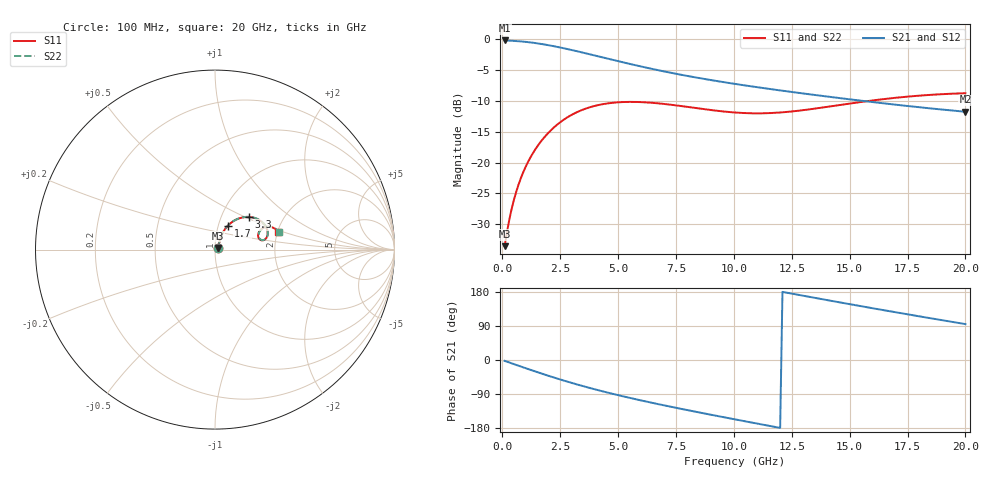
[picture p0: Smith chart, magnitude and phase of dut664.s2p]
! Touchstone file exported from HFSS 2024.1.0
!  File:  C:/UserFiles/LocalFiles/RDL_TSV_Batchsim/temp_RDL_TSV_664_1779812749.aedt
!  Generated:  12:40:36 AM May 27, 2026
!  Design:  RDL_TSV
!  Project:  temp_RDL_TSV_664_1779812749
!  Setup:  Setup1
!  Solution:  Sweep
! Variables:
!  dtsv = 6.43um
!  hbump = 3um
!  htsv = 70.53um
!  ldown = 583.68um
!  lrdl = 591.24um
!  p = 40
!  p1 = 55.98um
!  rhole = 10um
!  subl = 4116um
!  t = 450um
!  tdown = 4.49um
!  trdl = 4.69um
!  viad = 10um
!  wdown = 13.41um
!  wrdl = 26.51um
!  xbump = 18um
# GHz S MA R 50.000000
! Terminal data exported
! Port[1] = TM1_1_T1
! Port[2] = TM1_4_T1
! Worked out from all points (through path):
!   200 points, 100 MHz to 20 GHz, reference 50 ohm
!   highest |S21| = -0.16 dB at 100 MHz (marker M1); lowest = -11.7 dB at 20 GHz (marker M2)
!   group delay of S21, straight-line fit = 34.9 ps
!   lowest |S11| = -33.6 dB at 100 MHz (marker M3), VSWR 1.04, Z = 51.9 + j0.988 ohm
!   |S11| at or under -10 dB: start of sweep to 15.8 GHz
!   |S22| runs from -33.6 to -8.7 dB; largest |S21 - S12| = 9.3e-15
!   S11 on the Smith chart (normalised r, x): 100 MHz: 1.04, +0.02; 1.7 GHz: 1.11, +0.30; 3.3 GHz: 1.34, +0.52; 20 GHz: 2.02, +0.46
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0.1  0.02094 27.0  0.9813 -2.2  0.9813 -2.2  0.02094 27.0
! Gamma 0 0 0 0
! Port Impedance 50 0 50 0
0.3  0.03415 51.3  0.978 -6.6  0.978 -6.6  0.03415 51.3
0.4  0.04173 56.8  0.9758 -8.7  0.9758 -8.7  0.04172 56.8
0.7  0.0661 64.0  0.9676 -15.1  0.9676 -15.1  0.06609 64.1
1.1  0.1001 65.4  0.9517 -23.6  0.9517 -23.6  0.1001 65.4
1.7  0.151 61.8  0.9181 -35.9  0.9181 -35.9  0.1511 61.9
2.1  0.1831 57.9  0.8907 -43.8  0.8907 -43.8  0.1833 58.0
2.5  0.2125 53.5  0.8605 -51.4  0.8605 -51.4  0.2128 53.6
3.3  0.2605 44.2  0.7964 -65.8  0.7964 -65.8  0.2611 44.4
3.5  0.2699 41.9  0.7802 -69.2  0.7802 -69.2  0.2706 42.1
4.2  0.2946 34.3  0.7249 -80.6  0.7249 -80.6  0.2955 34.5
5.1  0.3094 25.9  0.6595 -94.2  0.6595 -94.2  0.3106 26.1
5.9  0.3102 19.9  0.6085 -105.4  0.6085 -105.4  0.3117 20.2
6.8  0.3019 15.0  0.5592 -117.3  0.5592 -117.3  0.3037 15.2
8.4  0.2766 11.0  0.4895 -137.2  0.4895 -137.2  0.2787 11.2
10.1  0.2547 13.1  0.4338 -157.3  0.4338 -157.3  0.257 13.2
11.7  0.253 18.5  0.3925 -175.7  0.3925 -175.7  0.2554 18.4
13.4  0.2727 23.0  0.3559 165.1  0.3559 165.1  0.2749 22.9
15  0.3015 24.2  0.3263 147.4  0.3263 147.4  0.3034 24.0
16.7  0.3315 22.5  0.2993 129.0  0.2993 129.0  0.3332 22.4
18.3  0.3529 19.4  0.2777 112.2  0.2777 112.2  0.3544 19.3
20  0.3659 15.6  0.2587 94.7  0.2587 94.7  0.3674 15.5
